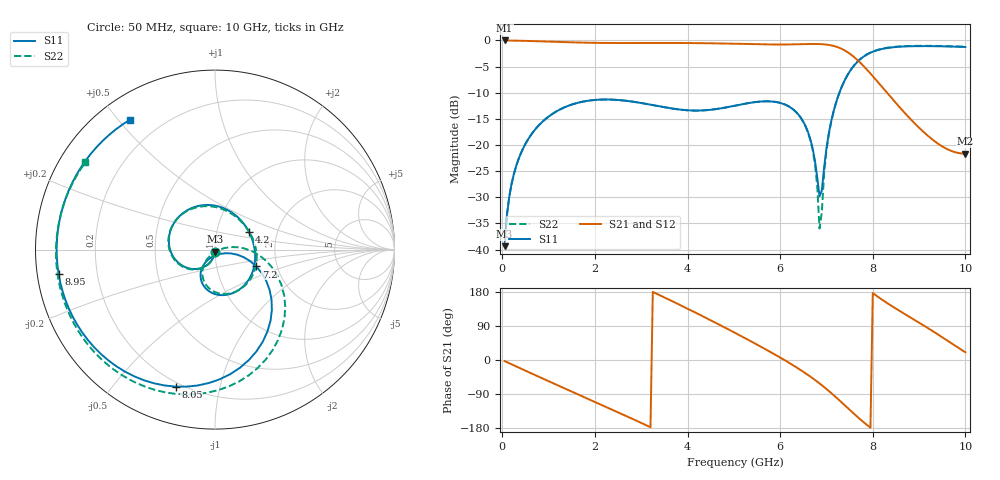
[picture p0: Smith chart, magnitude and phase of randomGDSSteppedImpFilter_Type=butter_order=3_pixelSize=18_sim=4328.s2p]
! freq	dB(S11)	phase(S11)	dB(S12)	phase(S12)
!  dB(S21)	phase(S21)	dB(S22)	phase(S22)
!S-par simulation data
#  GHz  S  DB  R 50
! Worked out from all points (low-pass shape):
!   200 points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, 50 MHz to 10 GHz, reference 50 ohm
!   highest |S21| = -0.01 dB at 50 MHz (marker M1); lowest = -21.7 dB at 10 GHz (marker M2)
!   |S21| within 3 dB of the highest: start of sweep to 7.572 GHz
!   lowest |S11| = -39.3 dB at 50 MHz (marker M3), VSWR 1.02, Z = 50 - j1.08 ohm
!   |S11| at or under -10 dB: start of sweep to 7.28 GHz
!   |S22| runs from -39.3 to -1.0 dB; largest |S21 - S12| = 0
!   S11 on the Smith chart (normalised r, x): 50 MHz: 1.00, -0.02; 4.2 GHz: 1.44, +0.29; 7.2 GHz: 1.56, -0.31; 8.05 GHz: 0.18, -0.74; 8.95 GHz: 0.06, -0.08; 10 GHz: 0.09, +0.54
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0.05  -39.35 -91.9  -0.01 -2.9  -0.01 -2.9  -39.35 -91.8
0.2  -27.46 -101.5  -0.03 -11.4  -0.03 -11.4  -27.46 -101.2
0.5  -19.78 -119.1  -0.09 -28.2  -0.09 -28.2  -19.78 -118.3
1.15  -13.67 -155.8  -0.27 -64.2  -0.27 -64.2  -13.67 -153.7
1.75  -11.69 170.7  -0.42 -96.9  -0.42 -96.9  -11.69 174.1
2.65  -11.52 119.9  -0.50 -146.3  -0.50 -146.3  -11.52 126.2
3.4  -12.62 75.7  -0.49 171.0  -0.49 171.0  -12.62 85.3
4.2  -13.42 26.9  -0.51 123.3  -0.51 123.3  -13.42 39.2
5.05  -12.43 -25.3  -0.64 70.1  -0.64 70.1  -12.43 -14.2
5.95  -11.84 -82.6  -0.78 10.0  -0.78 10.0  -11.84 -74.8
6.45  -14.83 -115.8  -0.72 -27.1  -0.72 -27.1  -14.87 -110.8
6.7  -20.58 -126.9  -0.68 -48.0  -0.68 -48.0  -20.89 -128.0
6.8  -26.17 -116.3  -0.68 -57.0  -0.68 -57.0  -27.74 -128.1
6.85  -29.82 -87.8  -0.70 -61.7  -0.70 -61.7  -35.97 -102.4
7  -20.60 -13.3  -0.80 -76.5  -0.80 -76.5  -21.07 9.1
7.2  -12.09 -22.2  -1.17 -97.7  -1.17 -97.7  -12.14 -7.1
7.6  -4.76 -62.6  -3.21 -142.7  -3.21 -142.7  -4.74 -49.8
8.05  -2.00 -106.1  -7.34 172.2  -7.34 172.2  -1.96 -93.0
8.35  -1.40 -130.2  -10.45 147.0  -10.45 147.0  -1.35 -116.4
8.95  -1.09 -171.1  -16.26 102.2  -16.26 102.2  -1.03 -154.9
9.45  -1.12 157.7  -19.99 64.1  -19.99 64.1  -1.06 176.7
10  -1.26 123.4  -21.66 20.3  -21.66 20.3  -1.20 146.1
